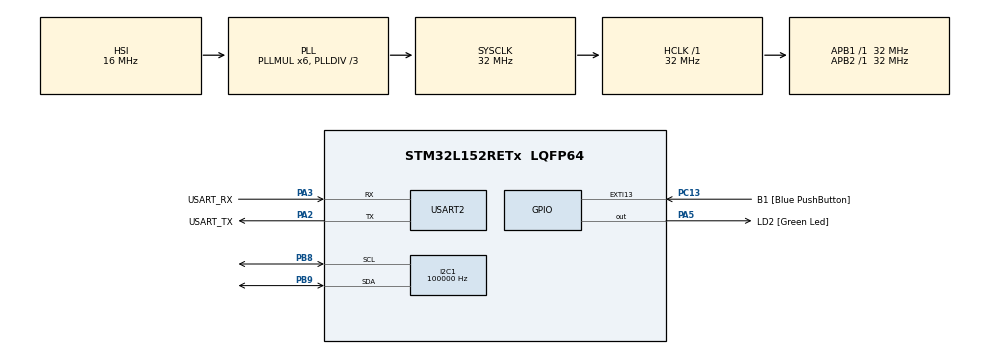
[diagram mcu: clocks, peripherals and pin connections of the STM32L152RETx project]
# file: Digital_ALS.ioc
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I2C1.ClockSpeed=100000
I2C1.I2C_Mode=I2C_Standard
Mcu.Family=STM32L1
Mcu.Name=STM32L152RETx
Mcu.Package=LQFP64
NVIC.I2C1_ER_IRQn=true\:0\:0\:false\:false\:true\:true\:true\:true
NVIC.I2C1_EV_IRQn=true\:0\:0\:false\:false\:true\:true\:true\:true
NVIC.PriorityGroup=NVIC_PRIORITYGROUP_0
PA13.GPIO_Label=TMS
PA13.Mode=Serial_Wire
PA13.Signal=SYS_JTMS-SWDIO
PA14.GPIO_Label=TCK
PA14.Mode=Serial_Wire
PA14.Signal=SYS_JTCK-SWCLK
PA2.GPIO_Label=USART_TX
PA2.Mode=Asynchronous
PA2.Signal=USART2_TX
PA3.GPIO_Label=USART_RX
PA3.Mode=Asynchronous
PA3.Signal=USART2_RX
PA5.GPIO_Label=LD2 [Green Led]
PA5.Signal=GPIO_Output
PB3.GPIO_Label=SWO
PB3.Signal=SYS_JTDO-TRACESWO
PB8.GPIO_Pu=GPIO_PULLUP
PB8.Mode=I2C
PB8.Signal=I2C1_SCL
PB9.GPIO_Pu=GPIO_PULLUP
PB9.Mode=I2C
PB9.Signal=I2C1_SDA
PC13-WKUP2.GPIO_Label=B1 [Blue PushButton]
PC13-WKUP2.Signal=GPXTI13
PC14-OSC32_IN.Mode=LSE-External-Oscillator
PC14-OSC32_IN.Signal=RCC_OSC32_IN
PC15-OSC32_OUT.Mode=LSE-External-Oscillator
PC15-OSC32_OUT.Signal=RCC_OSC32_OUT
PH0-OSC_IN.Mode=HSE-External-Clock-Source
PH0-OSC_IN.Signal=RCC_OSC_IN
PH1-OSC_OUT.Signal=RCC_OSC_OUT
ProjectManager.HeapSize=0x200
ProjectManager.StackSize=0x400
ProjectManager.TargetToolchain=STM32CubeIDE
RCC.48MHZClocksFreq_Value=48000000
RCC.AHBFreq_Value=32000000
RCC.APB1Freq_Value=32000000
RCC.APB1TimFreq_Value=32000000
RCC.APB2Freq_Value=32000000
RCC.APB2TimFreq_Value=32000000
RCC.HCLKFreq_Value=32000000
RCC.HSE_VALUE=8000000
RCC.HSI_VALUE=16000000
RCC.MSI_VALUE=2097000
RCC.PLLDIV=RCC_PLL_DIV3
RCC.PLLMUL=RCC_PLL_MUL6
RCC.RTCClockSelectionVirtual=RCC_RTCCLKSOURCE_LSE
RCC.SYSCLKFreq_VALUE=32000000
RCC.SYSCLKSource=RCC_SYSCLKSOURCE_PLLCLK
RCC.USBOutput=48000000
RCC.VCOOutputFreq_Value=96000000
USART2.VirtualMode=VM_ASYNC
board=NUCLEO-L152RE

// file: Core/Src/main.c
/* USER CODE BEGIN Header */
/**
  ******************************************************************************
  * @file           : main.c
  * @brief          : Main program body
  ******************************************************************************
  * @attention
  *
  * Copyright (c) 2025 STMicroelectronics.
  * All rights reserved.
  *
  * This software is licensed under terms that can be found in the LICENSE file
  * in the root directory of this software component.
  * If no LICENSE file comes with this software, it is provided AS-IS.
  *
  ******************************************************************************
  */
/* USER CODE END Header */
#include "main.h"

/* USER CODE BEGIN Includes */
#include "stdio.h"
#include "string.h"
#include "VEML7700.h"
#include "BMP280.h"
#include "LCD_I2C.h"
#include "affichage_UART.h"

/* USER CODE END Includes */

I2C_HandleTypeDef hi2c1;

UART_HandleTypeDef huart2;

void SystemClock_Config(void);
static void MX_GPIO_Init(void);
static void MX_USART2_UART_Init(void);
static void MX_I2C1_Init(void);
/* USER CODE BEGIN PFP */
void I2C_Scan(I2C_HandleTypeDef *hi2c, UART_HandleTypeDef *huart);

/* USER CODE END PFP */

/* USER CODE BEGIN 0 */
void I2C_Scan(I2C_HandleTypeDef *hi2c, UART_HandleTypeDef *huart) {
    char msg[32];
    uint8_t found = 0;

    HAL_UART_Transmit(huart, (uint8_t*)"Scanning I2C...\r\n", 17, HAL_MAX_DELAY);

    for (uint8_t i = 1; i < 128; i++) {
        if (HAL_I2C_IsDeviceReady(hi2c, (i << 1), 1, HAL_MAX_DELAY) == HAL_OK) {
            snprintf(msg, sizeof(msg), "Device found at 0x%X\r\n", i);
            HAL_UART_Transmit(huart, (uint8_t*)msg, strlen(msg), HAL_MAX_DELAY);
            found = 1;
        }
    }

    if (!found) {
        HAL_UART_Transmit(huart, (uint8_t*)"No I2C device found!\r\n", 22, HAL_MAX_DELAY);
    }

    HAL_UART_Transmit(huart, (uint8_t*)"Scan Complete\r\n", 15, HAL_MAX_DELAY);
}

/* USER CODE END 0 */

int main(void)
{

  /* MCU Configuration--------------------------------------------------------*/

  /* Reset of all peripherals, Initializes the Flash interface and the Systick. */
  HAL_Init();

  /* Configure the system clock */
  SystemClock_Config();

  /* Initialize all configured peripherals */
  MX_GPIO_Init();
  MX_USART2_UART_Init();
  MX_I2C1_Init();
  /* USER CODE BEGIN 2 */

  I2C_Scan(&hi2c1,&huart2);
  // Initialisation des capteurs et de l'écran
  VEML7700_Init(&hi2c1);
  BMP280_Init(&hi2c1);
  LCD_Init();
  LCD_Clear();

  /* USER CODE END 2 */

  /* Infinite loop */
  while (1)
  {

    /* USER CODE BEGIN 3 */

	  float lux = VEML7700_GetLux(&hi2c1);

	  float temperature = BMP280_ReadTemperature();
	  float pressure = BMP280_ReadPressure();
	  float altitude = BMP280_ReadAltitude(1013.25); // à ajuster selon ta pression locale

	  char buffer[100];
	  snprintf(buffer, sizeof(buffer),
	           "Lux: %.2f lx\r\nT: %.2f C\r\nP: %.2f hPa\r\nAlt: %.2f m\r\n",
	           lux, temperature, pressure / 100.0, altitude);

	  HAL_UART_Transmit(&huart2, (uint8_t*)buffer, strlen(buffer), HAL_MAX_DELAY);

	  // Affichage sur LCD 16x2
	  LCD_SetCursor(0, 0);
	  char line1[17];
	  snprintf(line1, sizeof(line1), "T:%.1fC P:%.0fh", temperature, pressure / 100);
	  LCD_Print(line1);

	  LCD_SetCursor(0, 1);
	  char line2[17];
	  snprintf(line2, sizeof(line2), "A:%.0fm L:%.0f%%", altitude, lux);
	  LCD_Print(line2);

	  HAL_Delay(10000);

  }
  /* USER CODE END 3 */
}

void SystemClock_Config(void)
{
  RCC_OscInitTypeDef RCC_OscInitStruct = {0};
  RCC_ClkInitTypeDef RCC_ClkInitStruct = {0};

  /** Configure the main internal regulator output voltage
  */
  __HAL_PWR_VOLTAGESCALING_CONFIG(PWR_REGULATOR_VOLTAGE_SCALE1);

  /** Initializes the RCC Oscillators according to the specified parameters
  * in the RCC_OscInitTypeDef structure.
  */
  RCC_OscInitStruct.OscillatorType = RCC_OSCILLATORTYPE_HSI;
  RCC_OscInitStruct.HSIState = RCC_HSI_ON;
  RCC_OscInitStruct.HSICalibrationValue = RCC_HSICALIBRATION_DEFAULT;
  RCC_OscInitStruct.PLL.PLLState = RCC_PLL_ON;
  RCC_OscInitStruct.PLL.PLLSource = RCC_PLLSOURCE_HSI;
  RCC_OscInitStruct.PLL.PLLMUL = RCC_PLL_MUL6;
  RCC_OscInitStruct.PLL.PLLDIV = RCC_PLL_DIV3;
  if (HAL_RCC_OscConfig(&RCC_OscInitStruct) != HAL_OK)
  {
    Error_Handler();
  }

  /** Initializes the CPU, AHB and APB buses clocks
  */
  RCC_ClkInitStruct.ClockType = RCC_CLOCKTYPE_HCLK|RCC_CLOCKTYPE_SYSCLK
                              |RCC_CLOCKTYPE_PCLK1|RCC_CLOCKTYPE_PCLK2;
  RCC_ClkInitStruct.SYSCLKSource = RCC_SYSCLKSOURCE_PLLCLK;
  RCC_ClkInitStruct.AHBCLKDivider = RCC_SYSCLK_DIV1;
  RCC_ClkInitStruct.APB1CLKDivider = RCC_HCLK_DIV1;
  RCC_ClkInitStruct.APB2CLKDivider = RCC_HCLK_DIV1;

  if (HAL_RCC_ClockConfig(&RCC_ClkInitStruct, FLASH_LATENCY_1) != HAL_OK)
  {
    Error_Handler();
  }
}

static void MX_I2C1_Init(void)
{

  hi2c1.Instance = I2C1;
  hi2c1.Init.ClockSpeed = 100000;
  hi2c1.Init.DutyCycle = I2C_DUTYCYCLE_2;
  hi2c1.Init.OwnAddress1 = 0;
  hi2c1.Init.AddressingMode = I2C_ADDRESSINGMODE_7BIT;
  hi2c1.Init.DualAddressMode = I2C_DUALADDRESS_DISABLE;
  hi2c1.Init.OwnAddress2 = 0;
  hi2c1.Init.GeneralCallMode = I2C_GENERALCALL_DISABLE;
  hi2c1.Init.NoStretchMode = I2C_NOSTRETCH_DISABLE;
  if (HAL_I2C_Init(&hi2c1) != HAL_OK)
  {
    Error_Handler();
  }

}

static void MX_USART2_UART_Init(void)
{

  huart2.Instance = USART2;
  huart2.Init.BaudRate = 115200;
  huart2.Init.WordLength = UART_WORDLENGTH_8B;
  huart2.Init.StopBits = UART_STOPBITS_1;
  huart2.Init.Parity = UART_PARITY_NONE;
  huart2.Init.Mode = UART_MODE_TX_RX;
  huart2.Init.HwFlowCtl = UART_HWCONTROL_NONE;
  huart2.Init.OverSampling = UART_OVERSAMPLING_16;
  if (HAL_UART_Init(&huart2) != HAL_OK)
  {
    Error_Handler();
  }

}

static void MX_GPIO_Init(void)
{
  GPIO_InitTypeDef GPIO_InitStruct = {0};

  /* GPIO Ports Clock Enable */
  __HAL_RCC_GPIOC_CLK_ENABLE();
  __HAL_RCC_GPIOH_CLK_ENABLE();
  __HAL_RCC_GPIOA_CLK_ENABLE();
  __HAL_RCC_GPIOB_CLK_ENABLE();

  /*Configure GPIO pin Output Level */
  HAL_GPIO_WritePin(LD2_GPIO_Port, LD2_Pin, GPIO_PIN_RESET);

  /*Configure GPIO pin : B1_Pin */
  GPIO_InitStruct.Pin = B1_Pin;
  GPIO_InitStruct.Mode = GPIO_MODE_IT_RISING;
  GPIO_InitStruct.Pull = GPIO_NOPULL;
  HAL_GPIO_Init(B1_GPIO_Port, &GPIO_InitStruct);

  /*Configure GPIO pin : LD2_Pin */
  GPIO_InitStruct.Pin = LD2_Pin;
  GPIO_InitStruct.Mode = GPIO_MODE_OUTPUT_PP;
  GPIO_InitStruct.Pull = GPIO_NOPULL;
  GPIO_InitStruct.Speed = GPIO_SPEED_FREQ_LOW;
  HAL_GPIO_Init(LD2_GPIO_Port, &GPIO_InitStruct);

}

void Error_Handler(void)
{
  __disable_irq();
  while (1)
  {
  }
}
